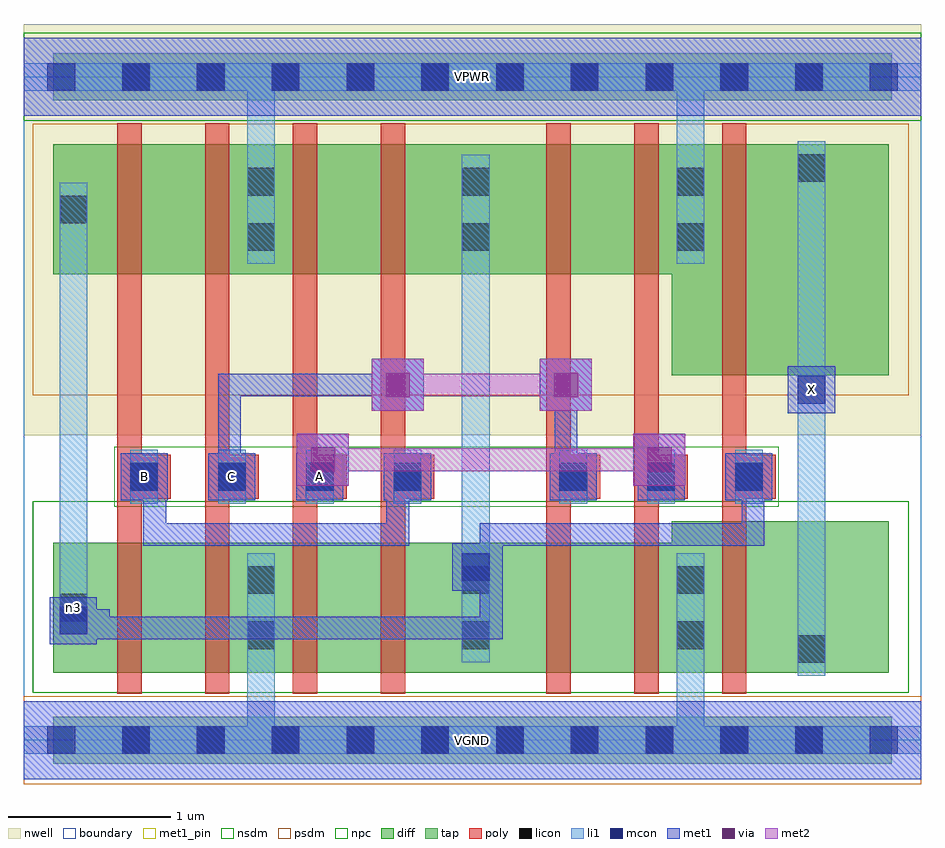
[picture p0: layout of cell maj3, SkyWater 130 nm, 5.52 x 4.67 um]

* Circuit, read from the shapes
.subckt maj3 A B C VGND VPWR X n3
XM1 n1 B n3 VGND sky130_fd_pr__nfet_01v8 w=0.8 l=0.15
XM2 VGND C n1 VGND sky130_fd_pr__nfet_01v8 w=0.8 l=0.15
XM3 n2 A VGND VGND sky130_fd_pr__nfet_01v8 w=0.8 l=0.15
XM4 n3 B n2 VGND sky130_fd_pr__nfet_01v8 w=0.8 l=0.15
XM5 n4 C n3 VGND sky130_fd_pr__nfet_01v8 w=0.8 l=0.15
XM6 VGND A n4 VGND sky130_fd_pr__nfet_01v8 w=0.8 l=0.15
XM7 X n3 VGND VGND sky130_fd_pr__nfet_01v8 w=0.93 l=0.15
XM8 n5 B n3 VPWR sky130_fd_pr__pfet_01v8 w=0.8 l=0.15
XM9 VPWR C n5 VPWR sky130_fd_pr__pfet_01v8 w=0.8 l=0.15
XM10 n6 A VPWR VPWR sky130_fd_pr__pfet_01v8 w=0.8 l=0.15
XM11 n3 B n6 VPWR sky130_fd_pr__pfet_01v8 w=0.8 l=0.15
XM12 n7 C n3 VPWR sky130_fd_pr__pfet_01v8 w=0.8 l=0.15
XM13 VPWR A n7 VPWR sky130_fd_pr__pfet_01v8 w=0.8 l=0.15
XM14 X n3 VPWR VPWR sky130_fd_pr__pfet_01v8 w=1.42 l=0.15
.ends

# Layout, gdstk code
import gdstk
lib = gdstk.Library(unit=1e-6, precision=1e-09)
def R(c, l, rs):  # rectangles x0, y0, x1, y1
    for r in rs: c.add(gdstk.rectangle(r[:2], r[2:], *l))
def A(c, l, x, y, w, h, nx, ny, dx, dy):  # array of equal rectangles
    R(c, l, [(x+i*dx, y+j*dy, x+i*dx+w, y+j*dy+h) for i in range(nx) for j in range(ny)])
nwell = (64, 20)
diff = (65, 20)
tap = (65, 44)
poly = (66, 20)
licon = (66, 44)
li1 = (67, 20)
mcon = (67, 44)
met1_pin = (68, 16)
met1 = (68, 20)
via = (68, 44)
met2 = (69, 20)
nsdm = (93, 44)
psdm = (94, 20)
npc = (95, 20)
boundary = (235, 4)

maj3 = lib.new_cell('maj3')
R(maj3, nwell, [(0,1.875,5.52,4.405)])
R(maj3, diff, [(0.18,0.415,4.295,1.215), (3.985,0.415,5.32,1.345), (3.985,2.245,5.32,3.665), (0.18,2.865,4.295,3.665)])
R(maj3, tap, [(0.18,-0.145,5.34,0.145), (0.18,3.935,5.34,4.225)])
A(maj3, poly, 0.575, 0.285, 0.15, 3.51, 4, 1, 0.54, 0)
A(maj3, poly, 3.215, 0.285, 0.15, 3.51, 3, 1, 0.54, 0)
A(maj3, poly, 0.575, 1.485, 0.33, 0.27, 4, 1, 0.54, 0)
A(maj3, poly, 3.215, 1.485, 0.33, 0.27, 3, 1, 0.54, 0)
A(maj3, licon, 0.605, -0.085, 0.17, 0.17, 10, 2, 0.46, 4.08)
A(maj3, licon, 1.375, 0.56, 0.17, 0.17, 3, 2, 1.32, 0.34)
A(maj3, licon, 0.655, 1.535, 0.17, 0.17, 4, 1, 0.54, 0)
A(maj3, licon, 3.295, 1.535, 0.17, 0.17, 3, 1, 0.54, 0)
A(maj3, licon, 1.375, 3.01, 0.17, 0.17, 3, 2, 1.32, 0.34)
R(maj3, licon, [(4.76,0.475,4.93,0.645), (0.22,0.73,0.39,0.9), (0.22,3.18,0.39,3.35), (4.76,3.435,4.93,3.605)])
A(maj3, li1, 1.375, 0.48, 0.17, 0.67, 3, 2, 1.32, 2.45)
A(maj3, li1, 0.655, 1.455, 0.17, 0.33, 4, 1, 0.54, 0)
A(maj3, li1, 3.295, 1.455, 0.17, 0.33, 3, 1, 0.54, 0)
R(maj3, li1, [(0,-0.085,5.52,0.085), (1.375,-0.085,1.545,1.15), (4.015,-0.085,4.185,1.15), (4.76,0.395,4.93,0.725), (4.76,0.395,4.93,3.685), (2.695,0.48,2.865,3.6), (0.22,0.65,0.39,0.98), (0.22,0.65,0.39,3.43), (1.375,2.93,1.545,4.165), (4.015,2.93,4.185,4.165), (0.22,3.1,0.39,3.43), (4.76,3.355,4.93,3.685), (0,3.995,5.52,4.165)])
A(maj3, mcon, 0.145, -0.085, 0.17, 0.17, 12, 2, 0.46, 4.08)
A(maj3, mcon, 0.655, 1.535, 0.17, 0.17, 4, 1, 0.54, 0)
A(maj3, mcon, 3.295, 1.535, 0.17, 0.17, 3, 1, 0.54, 0)
R(maj3, mcon, [(0.22,0.65,0.39,0.82), (2.695,0.98,2.865,1.15), (4.76,2.07,4.93,2.24)])
A(maj3, met1_pin, 0.595, 1.475, 0.29, 0.29, 3, 1, 0.54, 0)
R(maj3, met1_pin, [(0,-0.24,5.52,0.24), (4.7,2.01,4.99,2.3), (0,3.84,5.52,4.32)])
A(maj3, met1, 0.595, 1.475, 0.29, 0.29, 4, 1, 0.54, 0)
A(maj3, met1, 3.235, 1.475, 0.29, 0.29, 3, 1, 0.54, 0)
A(maj3, met1, 3.265, 1.54, 0.14, 0.14, 3, 1, 0.575, 0)
R(maj3, met1, [(0,-0.24,5.52,0.24), (0.16,0.59,0.45,0.88), (0.39,0.62,0.53,0.805), (0.39,0.62,2.945,0.76), (2.805,0.62,2.945,1.335), (0.235,0.665,0.53,0.805), (2.635,0.92,2.925,1.21), (2.71,0.995,2.945,1.135), (2.805,0.995,2.945,1.335), (0.735,1.195,0.875,1.68), (0.735,1.195,2.37,1.335), (2.23,1.195,2.37,1.68), (2.805,1.195,4.555,1.335), (4.415,1.195,4.555,1.68), (0.735,1.54,0.875,1.68), (1.195,1.54,1.335,1.68), (1.195,1.54,1.335,2.255), (1.77,1.54,1.91,1.68), (1.77,1.54,1.91,1.795), (2.23,1.54,2.37,1.68), (3.265,1.54,3.405,2.255), (3.84,1.54,3.98,1.795), (1.68,1.565,2,1.885), (3.75,1.565,4.07,1.885), (4.7,2.01,4.99,2.3), (2.14,2.025,2.46,2.345), (3.175,2.025,3.495,2.345), (1.195,2.115,2.37,2.255), (0,3.84,5.52,4.32)])
R(maj3, via, [(1.765,1.65,1.915,1.8), (3.835,1.65,3.985,1.8), (2.225,2.11,2.375,2.26), (3.26,2.11,3.41,2.26)])
R(maj3, met2, [(1.68,1.565,2,1.885), (3.75,1.565,4.07,1.885), (1.77,1.655,3.98,1.795), (2.14,2.025,2.46,2.345), (3.175,2.025,3.495,2.345), (2.23,2.115,3.405,2.255)])
R(maj3, nsdm, [(0.055,0.29,5.445,1.47), (0,3.81,5.52,4.35)])
R(maj3, psdm, [(0,-0.27,5.52,0.27), (0.055,2.12,5.445,3.79)])
R(maj3, npc, [(0.555,1.435,4.645,1.805)])
R(maj3, boundary, [(0,0,5.52,4.08)])
maj3.add(gdstk.Label('n3', (0.305,0.815), layer=67, texttype=5))
maj3.add(gdstk.Label('A', (1.82,1.62), layer=68, texttype=5))
maj3.add(gdstk.Label('B', (0.74,1.62), layer=68, texttype=5))
maj3.add(gdstk.Label('C', (1.28,1.62), layer=68, texttype=5))
maj3.add(gdstk.Label('X', (4.845,2.155), layer=68, texttype=5))
maj3.add(gdstk.Label('VPWR', (2.76,4.08), layer=68, texttype=5))
maj3.add(gdstk.Label('VGND', (2.76,0), layer=68, texttype=5))
maj3.add(gdstk.Label('A', (1.82,1.62), layer=68, texttype=16))
maj3.add(gdstk.Label('B', (0.74,1.62), layer=68, texttype=16))
maj3.add(gdstk.Label('C', (1.28,1.62), layer=68, texttype=16))
maj3.add(gdstk.Label('X', (4.845,2.155), layer=68, texttype=16))
maj3.add(gdstk.Label('VPWR', (2.76,4.08), layer=68, texttype=16))
maj3.add(gdstk.Label('VGND', (2.76,0), layer=68, texttype=16))

lib.write_gds('maj3.gds')
